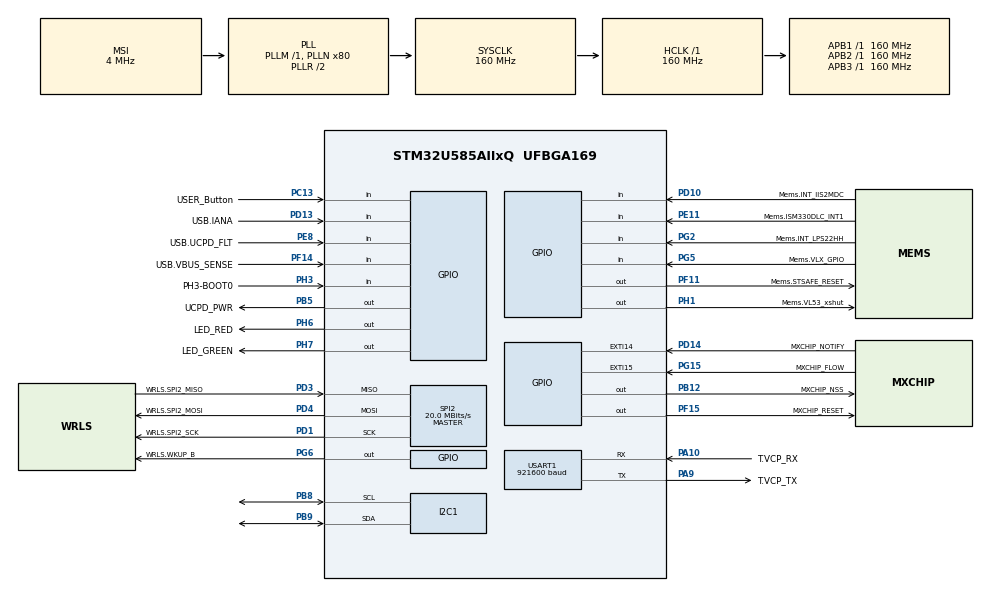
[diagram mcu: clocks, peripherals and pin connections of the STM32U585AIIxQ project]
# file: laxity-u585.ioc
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CORTEX_M33_NS.userName=CORTEX_M33
Mcu.Family=STM32U5
Mcu.Name=STM32U585AIIxQ
Mcu.Package=UFBGA169
NETXDUO.NX_APP_MEM_POOL_SIZE=50*1024
NETXDUO.NX_DRIVER_DEFERRED_PROCESSING=true
NETXDUO.NX_PHYSICAL_HEADER=44
NVIC.PriorityGroup=NVIC_PRIORITYGROUP_4
NVIC.TIM1_UP_IRQn=true\:15\:0\:false\:false\:true\:false\:false\:true\:true
NVIC.TimeBase=TIM1_UP_IRQn
NVIC.TimeBaseIP=TIM1
PA10.GPIO_Label=T.VCP_RX
PA10.Mode=Asynchronous
PA10.Signal=USART1_RX
PA11.GPIO_Label=USB.C_P
PA11.Signal=USB_OTG_FS_DM
PA12.GPIO_Label=USB.C_P
PA12.Signal=USB_OTG_FS_DP
PA13\ (JTMS/SWDIO).GPIO_Label=T.SWDIO
PA13\ (JTMS/SWDIO).Signal=DEBUG_JTMS-SWDIO
PA14\ (JTCK/SWCLK).GPIO_Label=T.SWCLK
PA14\ (JTCK/SWCLK).Signal=DEBUG_JTCK-SWCLK
PA15\ (JTDI).GPIO_Label=USB.UCPD_CC1
PA15\ (JTDI).Signal=UCPD1_CC1
PA9.GPIO_Label=T.VCP_TX
PA9.Mode=Asynchronous
PA9.Signal=USART1_TX
PB1.GPIO_Label=MIC.SDIN0
PB1.Signal=MDF1_SDI0
PB10.GPIO_Label=OCTOSPI.R_CLK_P
PB10.Signal=OCTOSPIM_P1_CLK
PB11.GPIO_Label=OCTOSPI.R_NCS
PB11.Signal=OCTOSPIM_P1_NCS
PB12.GPIO_Label=MXCHIP_NSS
PB12.GPIO_Speed=GPIO_SPEED_FREQ_VERY_HIGH
PB12.PinState=GPIO_PIN_SET
PB12.Signal=GPIO_Output
PB15.GPIO_Label=USB.UCPD_CC2
PB15.Signal=UCPD1_CC2
PB3\ (JTDO/TRACESWO).GPIO_Label=T.SWO
PB3\ (JTDO/TRACESWO).Signal=DEBUG_JTDO-SWO
PB5.GPIO_Label=UCPD_PWR
PB5.Signal=GPIO_Output
PB8.Mode=I2C
PB8.Signal=I2C1_SCL
PB9.Mode=I2C
PB9.Signal=I2C1_SDA
PC10.GPIO_Label=WRLS.UART4_TX
PC10.Signal=UART4_TX
PC11.GPIO_Label=WRLS.UART4_RX
PC11.Signal=UART4_RX
PC13.GPIO_Label=USER_Button
PC13.Signal=GPIO_Input
PC14-OSC32_IN\ (PC14).GPIO_Label=PC14-OSC32_IN
PC14-OSC32_IN\ (PC14).Signal=RCC_OSC32_IN
PC15-OSC32_OUT\ (PC15).GPIO_Label=PC15-OSC32_OUT
PC15-OSC32_OUT\ (PC15).Signal=RCC_OSC32_OUT
PC3.GPIO_Label=OCTOSPI.R_IO6
PC3.Signal=OCTOSPIM_P1_IO6
PD1.GPIO_Label=WRLS.SPI2_SCK
PD1.Mode=Full_Duplex_Master
PD1.Signal=SPI2_SCK
PD10.GPIO_Label=Mems.INT_IIS2MDC
PD10.Signal=GPIO_Input
PD13.GPIO_Label=USB.IANA
PD13.Signal=GPIO_Input
PD14.GPIO_Label=MXCHIP_NOTIFY
PD14.GPIO_ModeDefaultEXTI=GPIO_MODE_IT_RISING
PD14.Signal=GPXTI14
PD3.GPIO_Label=WRLS.SPI2_MISO
PD3.Mode=Full_Duplex_Master
PD3.Signal=SPI2_MISO
PD4.GPIO_Label=WRLS.SPI2_MOSI
PD4.Mode=Full_Duplex_Master
PD4.Signal=SPI2_MOSI
PD7.GPIO_Label=OCTOSPI.R_IO7
PD7.Signal=OCTOSPIM_P1_IO7
PE10.GPIO_Label=MIC.SDINx
PE10.Signal=ADF1_SDI0
PE11.GPIO_Label=Mems.ISM330DLC_INT1
PE11.Signal=GPIO_Input
PE3.GPIO_Label=OCTOSPI.R_DQS
PE3.Signal=OCTOSPIM_P1_DQS
PE8.GPIO_Label=USB.UCPD_FLT
PE8.Signal=GPIO_Input
PE9.GPIO_Label=MIC.CCK0
PE9.Signal=ADF1_CCK0
PF0.GPIO_Label=OCTOSPI.F_IO0
PF0.Signal=OCTOSPIM_P2_IO0
PF1.GPIO_Label=OCTOSPI.F_IO1
PF1.Signal=OCTOSPIM_P2_IO1
PF10.GPIO_Label=MIC.CCK1
PF10.Signal=MDF1_CCK1
PF11.GPIO_Label=Mems.STSAFE_RESET
PF11.Signal=GPIO_Output
PF12.GPIO_Label=OCTOSPI.F_DQS
PF12.Signal=OCTOSPIM_P2_DQS
PF14.GPIO_Label=USB.VBUS_SENSE
PF14.Signal=GPIO_Input
PF15.GPIO_Label=MXCHIP_RESET
PF15.GPIO_Speed=GPIO_SPEED_FREQ_VERY_HIGH
PF15.Signal=GPIO_Output
PF2.GPIO_Label=OCTOSPI.F_IO2
PF2.Signal=OCTOSPIM_P2_IO2
PF3.GPIO_Label=OCTOSPI.F_IO3
PF3.Signal=OCTOSPIM_P2_IO3
PF4.GPIO_Label=OCTOSPI.F_CLK_P
PF4.Signal=OCTOSPIM_P2_CLK
PF6.GPIO_Label=OCTOSPI.R_IO3
PF6.Signal=OCTOSPIM_P1_IO3
PF7.GPIO_Label=OCTOSPI.R_IO2
PF7.Signal=OCTOSPIM_P1_IO2
PF8.GPIO_Label=OCTOSPI.R_IO0
PF8.Signal=OCTOSPIM_P1_IO0
PF9.GPIO_Label=OCTOSPI.R_IO1
PF9.Signal=OCTOSPIM_P1_IO1
PG15.GPIO_Label=MXCHIP_FLOW
PG15.GPIO_ModeDefaultEXTI=GPIO_MODE_IT_RISING
PG15.Signal=GPXTI15
PG2.GPIO_Label=Mems.INT_LPS22HH
PG2.Signal=GPIO_Input
PG5.GPIO_Label=Mems.VLX_GPIO
PG5.Signal=GPIO_Input
PG6.GPIO_Label=WRLS.WKUP_B
PG6.Signal=GPIO_Output
PH1-OSC_OUT\ (PH1).GPIO_Label=Mems.VL53_xshut
PH1-OSC_OUT\ (PH1).Signal=GPIO_Output
PH10.GPIO_Label=OCTOSPI.F_IO5
PH10.Signal=OCTOSPIM_P2_IO5
PH11.GPIO_Label=OCTOSPI.F_IO6
PH11.Signal=OCTOSPIM_P2_IO6
PH12.GPIO_Label=OCTOSPI.F_IO7
PH12.Signal=OCTOSPIM_P2_IO7
PH2.GPIO_Label=OCTOSPI.R_IO4
PH2.Signal=OCTOSPIM_P1_IO4
PH3-BOOT0.GPIO_Label=PH3-BOOT0
PH3-BOOT0.Signal=GPIO_Input
PH4.Signal=I2C2_SCL
PH5.Signal=I2C2_SDA
PH6.GPIO_Label=LED_RED
PH6.Signal=GPIO_Output
PH7.GPIO_Label=LED_GREEN
PH7.Signal=GPIO_Output
PH9.GPIO_Label=OCTOSPI.F_IO4
PH9.Signal=OCTOSPIM_P2_IO4
PI0.GPIO_Label=OCTOSPI.R_IO5
PI0.Signal=OCTOSPIM_P1_IO5
PI5.GPIO_Label=OCTOSPI.F_NCS
PI5.Signal=OCTOSPIM_P2_NCS
PWR.PowerMode=PWR_SMPS_SUPPLY
ProjectManager.HeapSize=0x200
ProjectManager.StackSize=0x400
ProjectManager.TargetToolchain=CMake
RCC.ADCFreq_Value=16000000
RCC.AHBFreq_Value=160000000
RCC.APB1Freq_Value=160000000
RCC.APB1TimFreq_Value=160000000
RCC.APB2Freq_Value=160000000
RCC.APB2TimFreq_Value=160000000
RCC.APB3Freq_Value=160000000
RCC.CortexFreq_Value=160000000
RCC.DACCLockSelectionVirtual=RCC_DAC1CLKSOURCE_LSI
RCC.EPOD_VALUE=4000000
RCC.HCLKFreq_Value=160000000
RCC.HSE_VALUE=16000000
RCC.HSI48_VALUE=48000000
RCC.HSI_VALUE=16000000
RCC.LSE_VALUE=32768
RCC.LSIDIV_VALUE=32000
RCC.MSI_VALUE=4000000
RCC.PLLN=80
RCC.SYSCLKFreq_VALUE=160000000
RCC.SYSCLKSource=RCC_SYSCLKSOURCE_PLLCLK
RCC.USBFreq_Value=48000000
RCC.VCOOutputFreq_Value=320000000
SPI2.BaudRatePrescaler=SPI_BAUDRATEPRESCALER_8
SPI2.CalculateBaudRate=20.0 MBits/s
SPI2.DataSize=SPI_DATASIZE_8BIT
SPI2.Direction=SPI_DIRECTION_2LINES
SPI2.Mode=SPI_MODE_MASTER
SPI2.NSSPMode=SPI_NSS_PULSE_DISABLE
SPI2.VirtualType=VM_MASTER
THREADX.TX_APP_MEM_POOL_SIZE=16384
USART1.BaudRate=921600
USART1.VirtualMode-Asynchronous=VM_ASYNC
VP_ICACHE_VS_ICACHE.Mode=DirectMappedCache
VP_LPBAMQUEUE_VS_QUEUE.Mode=QUEUEMODE
VP_LPBAM_VS_SIG1.Mode=SmartRun
VP_LPBAM_VS_SIG4.Mode=LPDMA1
VP_MEMORYMAP_VS_MEMORYMAP.Mode=CurAppReg
VP_NETXDUO_VS_AddonsOoDHCP.Mode=Addons_DHCP_Client
VP_NETXDUO_VS_NXOoCore.Mode=NX_Core
VP_PWR_VS_LPOM.Mode=PowerOptimisation
VP_PWR_VS_SECSignals.Mode=Security/Privilege
VP_SYS_VS_tim1.Mode=TIM1
VP_THREADX_VS_RTOSJjThreadXJjCoreJjDefault.Mode=Core_Default
board=B-U585I-IOT02A

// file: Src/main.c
/* USER CODE BEGIN Header */
/**
  ******************************************************************************
  * @file           : main.c
  * @brief          : Main program body
  ******************************************************************************
  * @attention
  *
  * Copyright (c) 2026 STMicroelectronics.
  * All rights reserved.
  *
  * This software is licensed under terms that can be found in the LICENSE file
  * in the root directory of this software component.
  * If no LICENSE file comes with this software, it is provided AS-IS.
  *
  ******************************************************************************
  */
/* USER CODE END Header */
#include "app_threadx.h"
#include "main.h"

/* USER CODE BEGIN Includes */
#include "nx_driver_emw3080.h"

/* USER CODE END Includes */

I2C_HandleTypeDef hi2c1;

SPI_HandleTypeDef hspi2;

UART_HandleTypeDef huart1;

void SystemClock_Config(void);
static void SystemPower_Config(void);
static void MX_GPIO_Init(void);
static void MX_ICACHE_Init(void);
static void MX_USART1_UART_Init(void);
static void MX_SPI2_Init(void);
static void MX_I2C1_Init(void);

int main(void)
{

  /* MCU Configuration--------------------------------------------------------*/

  /* Reset of all peripherals, Initializes the Flash interface and the Systick. */
  HAL_Init();

  /* Configure the System Power */
  SystemPower_Config();

  /* Configure the system clock */
  SystemClock_Config();

  /* Initialize all configured peripherals */
  MX_GPIO_Init();
  MX_ICACHE_Init();
  MX_USART1_UART_Init();
  MX_SPI2_Init();
  MX_I2C1_Init();

  MX_ThreadX_Init();

  /* We should never get here as control is now taken by the scheduler */

  /* Infinite loop */
  while (1)
  {

  }
}

void SystemClock_Config(void)
{
  RCC_OscInitTypeDef RCC_OscInitStruct = {0};
  RCC_ClkInitTypeDef RCC_ClkInitStruct = {0};

  /** Configure the main internal regulator output voltage
  */
  if (HAL_PWREx_ControlVoltageScaling(PWR_REGULATOR_VOLTAGE_SCALE1) != HAL_OK)
  {
    Error_Handler();
  }

  /** Initializes the CPU, AHB and APB buses clocks
  */
  RCC_OscInitStruct.OscillatorType = RCC_OSCILLATORTYPE_MSI;
  RCC_OscInitStruct.MSIState = RCC_MSI_ON;
  RCC_OscInitStruct.MSICalibrationValue = RCC_MSICALIBRATION_DEFAULT;
  RCC_OscInitStruct.MSIClockRange = RCC_MSIRANGE_4;
  RCC_OscInitStruct.PLL.PLLState = RCC_PLL_ON;
  RCC_OscInitStruct.PLL.PLLSource = RCC_PLLSOURCE_MSI;
  RCC_OscInitStruct.PLL.PLLMBOOST = RCC_PLLMBOOST_DIV1;
  RCC_OscInitStruct.PLL.PLLM = 1;
  RCC_OscInitStruct.PLL.PLLN = 80;
  RCC_OscInitStruct.PLL.PLLP = 2;
  RCC_OscInitStruct.PLL.PLLQ = 2;
  RCC_OscInitStruct.PLL.PLLR = 2;
  RCC_OscInitStruct.PLL.PLLRGE = RCC_PLLVCIRANGE_0;
  RCC_OscInitStruct.PLL.PLLFRACN = 0;
  if (HAL_RCC_OscConfig(&RCC_OscInitStruct) != HAL_OK)
  {
    Error_Handler();
  }

  /** Initializes the CPU, AHB and APB buses clocks
  */
  RCC_ClkInitStruct.ClockType = RCC_CLOCKTYPE_HCLK|RCC_CLOCKTYPE_SYSCLK
                              |RCC_CLOCKTYPE_PCLK1|RCC_CLOCKTYPE_PCLK2
                              |RCC_CLOCKTYPE_PCLK3;
  RCC_ClkInitStruct.SYSCLKSource = RCC_SYSCLKSOURCE_PLLCLK;
  RCC_ClkInitStruct.AHBCLKDivider = RCC_SYSCLK_DIV1;
  RCC_ClkInitStruct.APB1CLKDivider = RCC_HCLK_DIV1;
  RCC_ClkInitStruct.APB2CLKDivider = RCC_HCLK_DIV1;
  RCC_ClkInitStruct.APB3CLKDivider = RCC_HCLK_DIV1;

  if (HAL_RCC_ClockConfig(&RCC_ClkInitStruct, FLASH_LATENCY_4) != HAL_OK)
  {
    Error_Handler();
  }
}

/**
  * @brief Power Configuration
  * @retval None
  */
static void SystemPower_Config(void)
{
  HAL_PWREx_EnableVddIO2();

  /*
   * Switch to SMPS regulator instead of LDO
   */
  if (HAL_PWREx_ConfigSupply(PWR_SMPS_SUPPLY) != HAL_OK)
  {
    Error_Handler();
  }
}

static void MX_I2C1_Init(void)
{

  hi2c1.Instance = I2C1;
  hi2c1.Init.Timing = 0x00000000;
  hi2c1.Init.OwnAddress1 = 0;
  hi2c1.Init.AddressingMode = I2C_ADDRESSINGMODE_7BIT;
  hi2c1.Init.DualAddressMode = I2C_DUALADDRESS_DISABLE;
  hi2c1.Init.OwnAddress2 = 0;
  hi2c1.Init.OwnAddress2Masks = I2C_OA2_NOMASK;
  hi2c1.Init.GeneralCallMode = I2C_GENERALCALL_DISABLE;
  hi2c1.Init.NoStretchMode = I2C_NOSTRETCH_DISABLE;
  if (HAL_I2C_Init(&hi2c1) != HAL_OK)
  {
    Error_Handler();
  }

  /** Configure Analogue filter
  */
  if (HAL_I2CEx_ConfigAnalogFilter(&hi2c1, I2C_ANALOGFILTER_ENABLE) != HAL_OK)
  {
    Error_Handler();
  }

  /** Configure Digital filter
  */
  if (HAL_I2CEx_ConfigDigitalFilter(&hi2c1, 0) != HAL_OK)
  {
    Error_Handler();
  }

}

static void MX_ICACHE_Init(void)
{

  /** Enable instruction cache in 1-way (direct mapped cache)
  */
  if (HAL_ICACHE_ConfigAssociativityMode(ICACHE_1WAY) != HAL_OK)
  {
    Error_Handler();
  }
  if (HAL_ICACHE_Enable() != HAL_OK)
  {
    Error_Handler();
  }

}

static void MX_SPI2_Init(void)
{

  SPI_AutonomousModeConfTypeDef HAL_SPI_AutonomousMode_Cfg_Struct = {0};

  /* SPI2 parameter configuration*/
  hspi2.Instance = SPI2;
  hspi2.Init.Mode = SPI_MODE_MASTER;
  hspi2.Init.Direction = SPI_DIRECTION_2LINES;
  hspi2.Init.DataSize = SPI_DATASIZE_8BIT;
  hspi2.Init.CLKPolarity = SPI_POLARITY_LOW;
  hspi2.Init.CLKPhase = SPI_PHASE_1EDGE;
  hspi2.Init.NSS = SPI_NSS_SOFT;
  hspi2.Init.BaudRatePrescaler = SPI_BAUDRATEPRESCALER_8;
  hspi2.Init.FirstBit = SPI_FIRSTBIT_MSB;
  hspi2.Init.TIMode = SPI_TIMODE_DISABLE;
  hspi2.Init.CRCCalculation = SPI_CRCCALCULATION_DISABLE;
  hspi2.Init.CRCPolynomial = 0x7;
  hspi2.Init.NSSPMode = SPI_NSS_PULSE_DISABLE;
  hspi2.Init.NSSPolarity = SPI_NSS_POLARITY_LOW;
  hspi2.Init.FifoThreshold = SPI_FIFO_THRESHOLD_01DATA;
  hspi2.Init.MasterSSIdleness = SPI_MASTER_SS_IDLENESS_00CYCLE;
  hspi2.Init.MasterInterDataIdleness = SPI_MASTER_INTERDATA_IDLENESS_00CYCLE;
  hspi2.Init.MasterReceiverAutoSusp = SPI_MASTER_RX_AUTOSUSP_DISABLE;
  hspi2.Init.MasterKeepIOState = SPI_MASTER_KEEP_IO_STATE_DISABLE;
  hspi2.Init.IOSwap = SPI_IO_SWAP_DISABLE;
  hspi2.Init.ReadyMasterManagement = SPI_RDY_MASTER_MANAGEMENT_INTERNALLY;
  hspi2.Init.ReadyPolarity = SPI_RDY_POLARITY_HIGH;
  if (HAL_SPI_Init(&hspi2) != HAL_OK)
  {
    Error_Handler();
  }
  HAL_SPI_AutonomousMode_Cfg_Struct.TriggerState = SPI_AUTO_MODE_DISABLE;
  HAL_SPI_AutonomousMode_Cfg_Struct.TriggerSelection = SPI_GRP1_GPDMA_CH0_TCF_TRG;
  HAL_SPI_AutonomousMode_Cfg_Struct.TriggerPolarity = SPI_TRIG_POLARITY_RISING;
  if (HAL_SPIEx_SetConfigAutonomousMode(&hspi2, &HAL_SPI_AutonomousMode_Cfg_Struct) != HAL_OK)
  {
    Error_Handler();
  }
  /* USER CODE BEGIN SPI2_Init 2 */
  /* ST sets this in every one of its Wi-Fi projects for this module and it is in no .ioc.
     copied verbatim rather than derived. */
  SPI2->CFG1 |= 0x00000007 << SPI_CFG1_CRCSIZE_Pos;

  /* USER CODE END SPI2_Init 2 */

}

static void MX_USART1_UART_Init(void)
{

  huart1.Instance = USART1;
  huart1.Init.BaudRate = 921600;
  huart1.Init.WordLength = UART_WORDLENGTH_8B;
  huart1.Init.StopBits = UART_STOPBITS_1;
  huart1.Init.Parity = UART_PARITY_NONE;
  huart1.Init.Mode = UART_MODE_TX_RX;
  huart1.Init.HwFlowCtl = UART_HWCONTROL_NONE;
  huart1.Init.OverSampling = UART_OVERSAMPLING_16;
  huart1.Init.OneBitSampling = UART_ONE_BIT_SAMPLE_DISABLE;
  huart1.Init.ClockPrescaler = UART_PRESCALER_DIV1;
  huart1.AdvancedInit.AdvFeatureInit = UART_ADVFEATURE_NO_INIT;
  if (HAL_UART_Init(&huart1) != HAL_OK)
  {
    Error_Handler();
  }
  if (HAL_UARTEx_SetTxFifoThreshold(&huart1, UART_TXFIFO_THRESHOLD_1_8) != HAL_OK)
  {
    Error_Handler();
  }
  if (HAL_UARTEx_SetRxFifoThreshold(&huart1, UART_RXFIFO_THRESHOLD_1_8) != HAL_OK)
  {
    Error_Handler();
  }
  if (HAL_UARTEx_DisableFifoMode(&huart1) != HAL_OK)
  {
    Error_Handler();
  }

}

static void MX_GPIO_Init(void)
{
  GPIO_InitTypeDef GPIO_InitStruct = {0};

  /* GPIO Ports Clock Enable */
  __HAL_RCC_GPIOG_CLK_ENABLE();
  __HAL_RCC_GPIOC_CLK_ENABLE();
  __HAL_RCC_GPIOA_CLK_ENABLE();
  __HAL_RCC_GPIOI_CLK_ENABLE();
  __HAL_RCC_GPIOH_CLK_ENABLE();
  __HAL_RCC_GPIOB_CLK_ENABLE();
  __HAL_RCC_GPIOD_CLK_ENABLE();
  __HAL_RCC_GPIOE_CLK_ENABLE();
  __HAL_RCC_GPIOF_CLK_ENABLE();

  /*Configure GPIO pin Output Level */
  HAL_GPIO_WritePin(UCPD_PWR_GPIO_Port, UCPD_PWR_Pin, GPIO_PIN_RESET);

  /*Configure GPIO pin Output Level */
  HAL_GPIO_WritePin(GPIOH, LED_RED_Pin|LED_GREEN_Pin|Mems_VL53_xshut_Pin, GPIO_PIN_RESET);

  /*Configure GPIO pin Output Level */
  HAL_GPIO_WritePin(WRLS_WKUP_B_GPIO_Port, WRLS_WKUP_B_Pin, GPIO_PIN_RESET);

  /*Configure GPIO pin Output Level */
  HAL_GPIO_WritePin(MXCHIP_NSS_GPIO_Port, MXCHIP_NSS_Pin, GPIO_PIN_SET);

  /*Configure GPIO pin Output Level */
  HAL_GPIO_WritePin(GPIOF, Mems_STSAFE_RESET_Pin|MXCHIP_RESET_Pin, GPIO_PIN_RESET);

  /*Configure GPIO pin : MXCHIP_FLOW_Pin */
  GPIO_InitStruct.Pin = MXCHIP_FLOW_Pin;
  GPIO_InitStruct.Mode = GPIO_MODE_IT_RISING;
  GPIO_InitStruct.Pull = GPIO_NOPULL;
  HAL_GPIO_Init(MXCHIP_FLOW_GPIO_Port, &GPIO_InitStruct);

  /*Configure GPIO pins : WRLS_UART4_RX_Pin WRLS_UART4_TX_Pin */
  GPIO_InitStruct.Pin = WRLS_UART4_RX_Pin|WRLS_UART4_TX_Pin;
  GPIO_InitStruct.Mode = GPIO_MODE_AF_PP;
  GPIO_InitStruct.Pull = GPIO_NOPULL;
  GPIO_InitStruct.Speed = GPIO_SPEED_FREQ_LOW;
  GPIO_InitStruct.Alternate = GPIO_AF8_UART4;
  HAL_GPIO_Init(GPIOC, &GPIO_InitStruct);

  /*Configure GPIO pin : USB_UCPD_CC1_Pin */
  GPIO_InitStruct.Pin = USB_UCPD_CC1_Pin;
  GPIO_InitStruct.Mode = GPIO_MODE_ANALOG;
  GPIO_InitStruct.Pull = GPIO_NOPULL;
  HAL_GPIO_Init(USB_UCPD_CC1_GPIO_Port, &GPIO_InitStruct);

  /*Configure GPIO pin : OCTOSPI_F_NCS_Pin */
  GPIO_InitStruct.Pin = OCTOSPI_F_NCS_Pin;
  GPIO_InitStruct.Mode = GPIO_MODE_AF_PP;
  GPIO_InitStruct.Pull = GPIO_NOPULL;
  GPIO_InitStruct.Speed = GPIO_SPEED_FREQ_VERY_HIGH;
  GPIO_InitStruct.Alternate = GPIO_AF5_OCTOSPI2;
  HAL_GPIO_Init(OCTOSPI_F_NCS_GPIO_Port, &GPIO_InitStruct);

  /*Configure GPIO pin : OCTOSPI_R_IO5_Pin */
  GPIO_InitStruct.Pin = OCTOSPI_R_IO5_Pin;
  GPIO_InitStruct.Mode = GPIO_MODE_AF_PP;
  GPIO_InitStruct.Pull = GPIO_NOPULL;
  GPIO_InitStruct.Speed = GPIO_SPEED_FREQ_VERY_HIGH;
  GPIO_InitStruct.Alternate = GPIO_AF3_OCTOSPI1;
  HAL_GPIO_Init(OCTOSPI_R_IO5_GPIO_Port, &GPIO_InitStruct);

  /*Configure GPIO pins : OCTOSPI_F_IO7_Pin OCTOSPI_F_IO5_Pin OCTOSPI_F_IO6_Pin OCTOSPI_F_IO4_Pin */
  GPIO_InitStruct.Pin = OCTOSPI_F_IO7_Pin|OCTOSPI_F_IO5_Pin|OCTOSPI_F_IO6_Pin|OCTOSPI_F_IO4_Pin;
  GPIO_InitStruct.Mode = GPIO_MODE_AF_PP;
  GPIO_InitStruct.Pull = GPIO_NOPULL;
  GPIO_InitStruct.Speed = GPIO_SPEED_FREQ_VERY_HIGH;
  GPIO_InitStruct.Alternate = GPIO_AF5_OCTOSPI2;
  HAL_GPIO_Init(GPIOH, &GPIO_InitStruct);

  /*Configure GPIO pin : PH3_BOOT0_Pin */
  GPIO_InitStruct.Pin = PH3_BOOT0_Pin;
  GPIO_InitStruct.Mode = GPIO_MODE_INPUT;
  GPIO_InitStruct.Pull = GPIO_NOPULL;
  HAL_GPIO_Init(PH3_BOOT0_GPIO_Port, &GPIO_InitStruct);

  /*Configure GPIO pin : UCPD_PWR_Pin */
  GPIO_InitStruct.Pin = UCPD_PWR_Pin;
  GPIO_InitStruct.Mode = GPIO_MODE_OUTPUT_PP;
  GPIO_InitStruct.Pull = GPIO_NOPULL;
  GPIO_InitStruct.Speed = GPIO_SPEED_FREQ_LOW;
  HAL_GPIO_Init(UCPD_PWR_GPIO_Port, &GPIO_InitStruct);

  /*Configure GPIO pin : OCTOSPI_R_DQS_Pin */
  GPIO_InitStruct.Pin = OCTOSPI_R_DQS_Pin;
  GPIO_InitStruct.Mode = GPIO_MODE_AF_PP;
  GPIO_InitStruct.Pull = GPIO_NOPULL;
  GPIO_InitStruct.Speed = GPIO_SPEED_FREQ_VERY_HIGH;
  GPIO_InitStruct.Alternate = GPIO_AF3_OCTOSPI1;
  HAL_GPIO_Init(OCTOSPI_R_DQS_GPIO_Port, &GPIO_InitStruct);

  /*Configure GPIO pin : OCTOSPI_R_IO7_Pin */
  GPIO_InitStruct.Pin = OCTOSPI_R_IO7_Pin;
  GPIO_InitStruct.Mode = GPIO_MODE_AF_PP;
  GPIO_InitStruct.Pull = GPIO_NOPULL;
  GPIO_InitStruct.Speed = GPIO_SPEED_FREQ_VERY_HIGH;
  GPIO_InitStruct.Alternate = GPIO_AF10_OCTOSPI1;
  HAL_GPIO_Init(OCTOSPI_R_IO7_GPIO_Port, &GPIO_InitStruct);

  /*Configure GPIO pins : OCTOSPI_F_IO0_Pin OCTOSPI_F_IO1_Pin OCTOSPI_F_IO2_Pin OCTOSPI_F_IO3_Pin
                           OCTOSPI_F_CLK_P_Pin OCTOSPI_F_DQS_Pin */
  GPIO_InitStruct.Pin = OCTOSPI_F_IO0_Pin|OCTOSPI_F_IO1_Pin|OCTOSPI_F_IO2_Pin|OCTOSPI_F_IO3_Pin
                          |OCTOSPI_F_CLK_P_Pin|OCTOSPI_F_DQS_Pin;
  GPIO_InitStruct.Mode = GPIO_MODE_AF_PP;
  GPIO_InitStruct.Pull = GPIO_NOPULL;
  GPIO_InitStruct.Speed = GPIO_SPEED_FREQ_VERY_HIGH;
  GPIO_InitStruct.Alternate = GPIO_AF5_OCTOSPI2;
  HAL_GPIO_Init(GPIOF, &GPIO_InitStruct);

  /*Configure GPIO pin : USER_Button_Pin */
  GPIO_InitStruct.Pin = USER_Button_Pin;
  GPIO_InitStruct.Mode = GPIO_MODE_INPUT;
  GPIO_InitStruct.Pull = GPIO_NOPULL;
  HAL_GPIO_Init(USER_Button_GPIO_Port, &GPIO_InitStruct);

  /*Configure GPIO pins : PH4 PH5 */
  GPIO_InitStruct.Pin = GPIO_PIN_4|GPIO_PIN_5;
  GPIO_InitStruct.Mode = GPIO_MODE_AF_OD;
  GPIO_InitStruct.Pull = GPIO_NOPULL;
  GPIO_InitStruct.Speed = GPIO_SPEED_FREQ_LOW;
  GPIO_InitStruct.Alternate = GPIO_AF4_I2C2;
  HAL_GPIO_Init(GPIOH, &GPIO_InitStruct);

  /*Configure GPIO pins : LED_RED_Pin LED_GREEN_Pin Mems_VL53_xshut_Pin */
  GPIO_InitStruct.Pin = LED_RED_Pin|LED_GREEN_Pin|Mems_VL53_xshut_Pin;
  GPIO_InitStruct.Mode = GPIO_MODE_OUTPUT_PP;
  GPIO_InitStruct.Pull = GPIO_NOPULL;
  GPIO_InitStruct.Speed = GPIO_SPEED_FREQ_LOW;
  HAL_GPIO_Init(GPIOH, &GPIO_InitStruct);

  /*Configure GPIO pins : OCTOSPI_R_IO0_Pin OCTOSPI_R_IO2_Pin OCTOSPI_R_IO1_Pin OCTOSPI_R_IO3_Pin */
  GPIO_InitStruct.Pin = OCTOSPI_R_IO0_Pin|OCTOSPI_R_IO2_Pin|OCTOSPI_R_IO1_Pin|OCTOSPI_R_IO3_Pin;
  GPIO_InitStruct.Mode = GPIO_MODE_AF_PP;
  GPIO_InitStruct.Pull = GPIO_NOPULL;
  GPIO_InitStruct.Speed = GPIO_SPEED_FREQ_VERY_HIGH;
  GPIO_InitStruct.Alternate = GPIO_AF10_OCTOSPI1;
  HAL_GPIO_Init(GPIOF, &GPIO_InitStruct);

  /*Configure GPIO pin : OCTOSPI_R_IO4_Pin */
  GPIO_InitStruct.Pin = OCTOSPI_R_IO4_Pin;
  GPIO_InitStruct.Mode = GPIO_MODE_AF_PP;
  GPIO_InitStruct.Pull = GPIO_NOPULL;
  GPIO_InitStruct.Speed = GPIO_SPEED_FREQ_VERY_HIGH;
  GPIO_InitStruct.Alternate = GPIO_AF3_OCTOSPI1;
  HAL_GPIO_Init(OCTOSPI_R_IO4_GPIO_Port, &GPIO_InitStruct);

  /*Configure GPIO pins : USB_C_P_Pin USB_C_PA11_Pin */
  GPIO_InitStruct.Pin = USB_C_P_Pin|USB_C_PA11_Pin;
  GPIO_InitStruct.Mode = GPIO_MODE_AF_PP;
  GPIO_InitStruct.Pull = GPIO_NOPULL;
  GPIO_InitStruct.Speed = GPIO_SPEED_FREQ_LOW;
  GPIO_InitStruct.Alternate = GPIO_AF10_USB;
  HAL_GPIO_Init(GPIOA, &GPIO_InitStruct);

  /*Configure GPIO pin : MIC_CCK1_Pin */
  GPIO_InitStruct.Pin = MIC_CCK1_Pin;
  GPIO_InitStruct.Mode = GPIO_MODE_AF_PP;
  GPIO_InitStruct.Pull = GPIO_NOPULL;
  GPIO_InitStruct.Speed = GPIO_SPEED_FREQ_LOW;
  GPIO_InitStruct.Alternate = GPIO_AF6_MDF1;
  HAL_GPIO_Init(MIC_CCK1_GPIO_Port, &GPIO_InitStruct);

  /*Configure GPIO pins : MIC_SDINx_Pin MIC_CCK0_Pin */
  GPIO_InitStruct.Pin = MIC_SDINx_Pin|MIC_CCK0_Pin;
  GPIO_InitStruct.Mode = GPIO_MODE_AF_PP;
  GPIO_InitStruct.Pull = GPIO_NOPULL;
  GPIO_InitStruct.Speed = GPIO_SPEED_FREQ_LOW;
  GPIO_InitStruct.Alternate = GPIO_AF3_ADF1;
  HAL_GPIO_Init(GPIOE, &GPIO_InitStruct);

  /*Configure GPIO pin : WRLS_WKUP_B_Pin */
  GPIO_InitStruct.Pin = WRLS_WKUP_B_Pin;
  GPIO_InitStruct.Mode = GPIO_MODE_OUTPUT_PP;
  GPIO_InitStruct.Pull = GPIO_NOPULL;
  GPIO_InitStruct.Speed = GPIO_SPEED_FREQ_LOW;
  HAL_GPIO_Init(WRLS_WKUP_B_GPIO_Port, &GPIO_InitStruct);

  /*Configure GPIO pins : Mems_VLX_GPIO_Pin Mems_INT_LPS22HH_Pin */
  GPIO_InitStruct.Pin = Mems_VLX_GPIO_Pin|Mems_INT_LPS22HH_Pin;
  GPIO_InitStruct.Mode = GPIO_MODE_INPUT;
  GPIO_InitStruct.Pull = GPIO_NOPULL;
  HAL_GPIO_Init(GPIOG, &GPIO_InitStruct);

  /*Configure GPIO pin : MXCHIP_NOTIFY_Pin */
  GPIO_InitStruct.Pin = MXCHIP_NOTIFY_Pin;
  GPIO_InitStruct.Mode = GPIO_MODE_IT_RISING;
  GPIO_InitStruct.Pull = GPIO_NOPULL;
  HAL_GPIO_Init(MXCHIP_NOTIFY_GPIO_Port, &GPIO_InitStruct);

  /*Configure GPIO pin : OCTOSPI_R_IO6_Pin */
  GPIO_InitStruct.Pin = OCTOSPI_R_IO6_Pin;
  GPIO_InitStruct.Mode = GPIO_MODE_AF_PP;
  GPIO_InitStruct.Pull = GPIO_NOPULL;
  GPIO_InitStruct.Speed = GPIO_SPEED_FREQ_VERY_HIGH;
  GPIO_InitStruct.Alternate = GPIO_AF10_OCTOSPI1;
  HAL_GPIO_Init(OCTOSPI_R_IO6_GPIO_Port, &GPIO_InitStruct);

  /*Configure GPIO pins : USB_UCPD_FLT_Pin Mems_ISM330DLC_INT1_Pin */
  GPIO_InitStruct.Pin = USB_UCPD_FLT_Pin|Mems_ISM330DLC_INT1_Pin;
  GPIO_InitStruct.Mode = GPIO_MODE_INPUT;
  GPIO_InitStruct.Pull = GPIO_NOPULL;
  HAL_GPIO_Init(GPIOE, &GPIO_InitStruct);

  /*Configure GPIO pins : OCTOSPI_R_CLK_P_Pin OCTOSPI_R_NCS_Pin */
  GPIO_InitStruct.Pin = OCTOSPI_R_CLK_P_Pin|OCTOSPI_R_NCS_Pin;
  GPIO_InitStruct.Mode = GPIO_MODE_AF_PP;
  GPIO_InitStruct.Pull = GPIO_NOPULL;
  GPIO_InitStruct.Speed = GPIO_SPEED_FREQ_VERY_HIGH;
  GPIO_InitStruct.Alternate = GPIO_AF10_OCTOSPI1;
  HAL_GPIO_Init(GPIOB, &GPIO_InitStruct);

  /*Configure GPIO pins : Mems_INT_IIS2MDC_Pin USB_IANA_Pin */
  GPIO_InitStruct.Pin = Mems_INT_IIS2MDC_Pin|USB_IANA_Pin;
  GPIO_InitStruct.Mode = GPIO_MODE_INPUT;
  GPIO_InitStruct.Pull = GPIO_NOPULL;
  HAL_GPIO_Init(GPIOD, &GPIO_InitStruct);

  /*Configure GPIO pin : USB_VBUS_SENSE_Pin */
  GPIO_InitStruct.Pin = USB_VBUS_SENSE_Pin;
  GPIO_InitStruct.Mode = GPIO_MODE_INPUT;
  GPIO_InitStruct.Pull = GPIO_NOPULL;
  HAL_GPIO_Init(USB_VBUS_SENSE_GPIO_Port, &GPIO_InitStruct);

  /*Configure GPIO pin : MXCHIP_NSS_Pin */
  GPIO_InitStruct.Pin = MXCHIP_NSS_Pin;
  GPIO_InitStruct.Mode = GPIO_MODE_OUTPUT_PP;
  GPIO_InitStruct.Pull = GPIO_NOPULL;
  GPIO_InitStruct.Speed = GPIO_SPEED_FREQ_VERY_HIGH;
  HAL_GPIO_Init(MXCHIP_NSS_GPIO_Port, &GPIO_InitStruct);

  /*Configure GPIO pin : USB_UCPD_CC2_Pin */
  GPIO_InitStruct.Pin = USB_UCPD_CC2_Pin;
  GPIO_InitStruct.Mode = GPIO_MODE_ANALOG;
  GPIO_InitStruct.Pull = GPIO_NOPULL;
  HAL_GPIO_Init(USB_UCPD_CC2_GPIO_Port, &GPIO_InitStruct);

  /*Configure GPIO pin : Mems_STSAFE_RESET_Pin */
  GPIO_InitStruct.Pin = Mems_STSAFE_RESET_Pin;
  GPIO_InitStruct.Mode = GPIO_MODE_OUTPUT_PP;
  GPIO_InitStruct.Pull = GPIO_NOPULL;
  GPIO_InitStruct.Speed = GPIO_SPEED_FREQ_LOW;
  HAL_GPIO_Init(Mems_STSAFE_RESET_GPIO_Port, &GPIO_InitStruct);

  /*Configure GPIO pin : MIC_SDIN0_Pin */
  GPIO_InitStruct.Pin = MIC_SDIN0_Pin;
  GPIO_InitStruct.Mode = GPIO_MODE_AF_PP;
  GPIO_InitStruct.Pull = GPIO_NOPULL;
  GPIO_InitStruct.Speed = GPIO_SPEED_FREQ_LOW;
  GPIO_InitStruct.Alternate = GPIO_AF6_MDF1;
  HAL_GPIO_Init(MIC_SDIN0_GPIO_Port, &GPIO_InitStruct);

  /*Configure GPIO pin : MXCHIP_RESET_Pin */
  GPIO_InitStruct.Pin = MXCHIP_RESET_Pin;
  GPIO_InitStruct.Mode = GPIO_MODE_OUTPUT_PP;
  GPIO_InitStruct.Pull = GPIO_NOPULL;
  GPIO_InitStruct.Speed = GPIO_SPEED_FREQ_VERY_HIGH;
  HAL_GPIO_Init(MXCHIP_RESET_GPIO_Port, &GPIO_InitStruct);

}

/* USER CODE BEGIN 4 */
/* the U5 HAL splits the EXTI callback into rising and falling. the plain HAL_GPIO_EXTI_Callback
   name compiles and is never called on this part.

   both calls matter and they do different things. mxchip_WIFI_ISR advances the driver's SPI
   state machine, and nx_driver_emw3080_interrupt hands the event to deferred processing. with
   only the first, the link comes up and no packet is ever delivered. */
void HAL_GPIO_EXTI_Rising_Callback(uint16_t GPIO_Pin)
{
  switch (GPIO_Pin)
  {
    case MXCHIP_FLOW_Pin:
      mxchip_WIFI_ISR(MXCHIP_FLOW_Pin);
      nx_driver_emw3080_interrupt();
      break;

    case MXCHIP_NOTIFY_Pin:
      mxchip_WIFI_ISR(MXCHIP_NOTIFY_Pin);
      nx_driver_emw3080_interrupt();
      break;

    default:
      break;
  }
}

/* CubeMX drops NVIC.EXTI14_IRQn and NVIC.EXTI15_IRQn from the .ioc, so the enable and the two
   handlers are written here. both handler names are weak in the vector table, so a definition
   in this translation unit replaces the default one. */
void laxity_mxchip_irq_enable(void)
{
  HAL_NVIC_SetPriority(EXTI14_IRQn, 5, 0);
  HAL_NVIC_EnableIRQ(EXTI14_IRQn);
  HAL_NVIC_SetPriority(EXTI15_IRQn, 5, 0);
  HAL_NVIC_EnableIRQ(EXTI15_IRQn);
}

void EXTI14_IRQHandler(void)
{
  HAL_GPIO_EXTI_IRQHandler(MXCHIP_NOTIFY_Pin);
}

void EXTI15_IRQHandler(void)
{
  HAL_GPIO_EXTI_IRQHandler(MXCHIP_FLOW_Pin);
}

/* USER CODE END 4 */

void HAL_TIM_PeriodElapsedCallback(TIM_HandleTypeDef *htim)
{
  if (htim->Instance == TIM1)
  {
    HAL_IncTick();
  }
}

void Error_Handler(void)
{
  __disable_irq();
  while (1)
  {
  }
}
